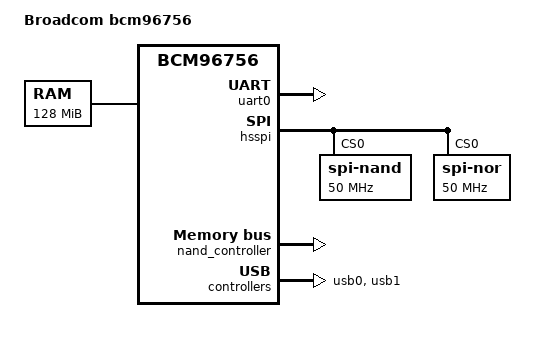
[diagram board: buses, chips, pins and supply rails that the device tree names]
// SPDX-License-Identifier: GPL-2.0+
/*
 * Copyright 2021 Broadcom Ltd.
 */


/dts-v1/;

#include "bcm6756.dtsi"

/ {
	model = "Broadcom bcm96756";
	compatible = "broadcom,bcm96756", "brcm,bcm96756";

	aliases {
		serial0 = &uart0;
		spi1 = &hsspi;
	};

	chosen {
		stdout-path = "serial0:115200n8";
	};

	memory {
		device_type = "memory";
		reg = <0x0 0x08000000>;
	};
};

&uart0 {
	status = "okay";
};

&hsspi {
	status = "okay";
	spi-nand {
		compatible = "spi-nand";
		reg = <0>;
		pinctrl-0 = <&spim_ss0_b_pin_75>;
		pinctrl-names = "default";
		#address-cells = <1>;
		#size-cells = <0>;
		bootph-all;
		spi-max-frequency = <50000000>;
	};
	spi-nor@0 {
		pinctrl-0 = <&spim_ss0_b_pin_75>;
		pinctrl-names = "default";
		compatible = "jedec,spi-nor";
		reg = <0>;
		#address-cells = <1>;
		#size-cells = <0>;
		spi-max-frequency = <50000000>;
		bootph-all;
	};
};

&nand_controller {
	brcm,wp-not-connected;
	status = "okay";
};

&nandcs {
	nand-on-flash-bbt;
	brcm,nand-ecc-use-strap;
};

&usb0 {
	status = "okay";
	pinctrl-0 = <&usb0_pwr_pins>;
	pinctrl-names="default";
};

&usb1 {
	status = "okay";
	pinctrl-0 = <&usb1_pwr_pins>;
	pinctrl-names="default";
};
